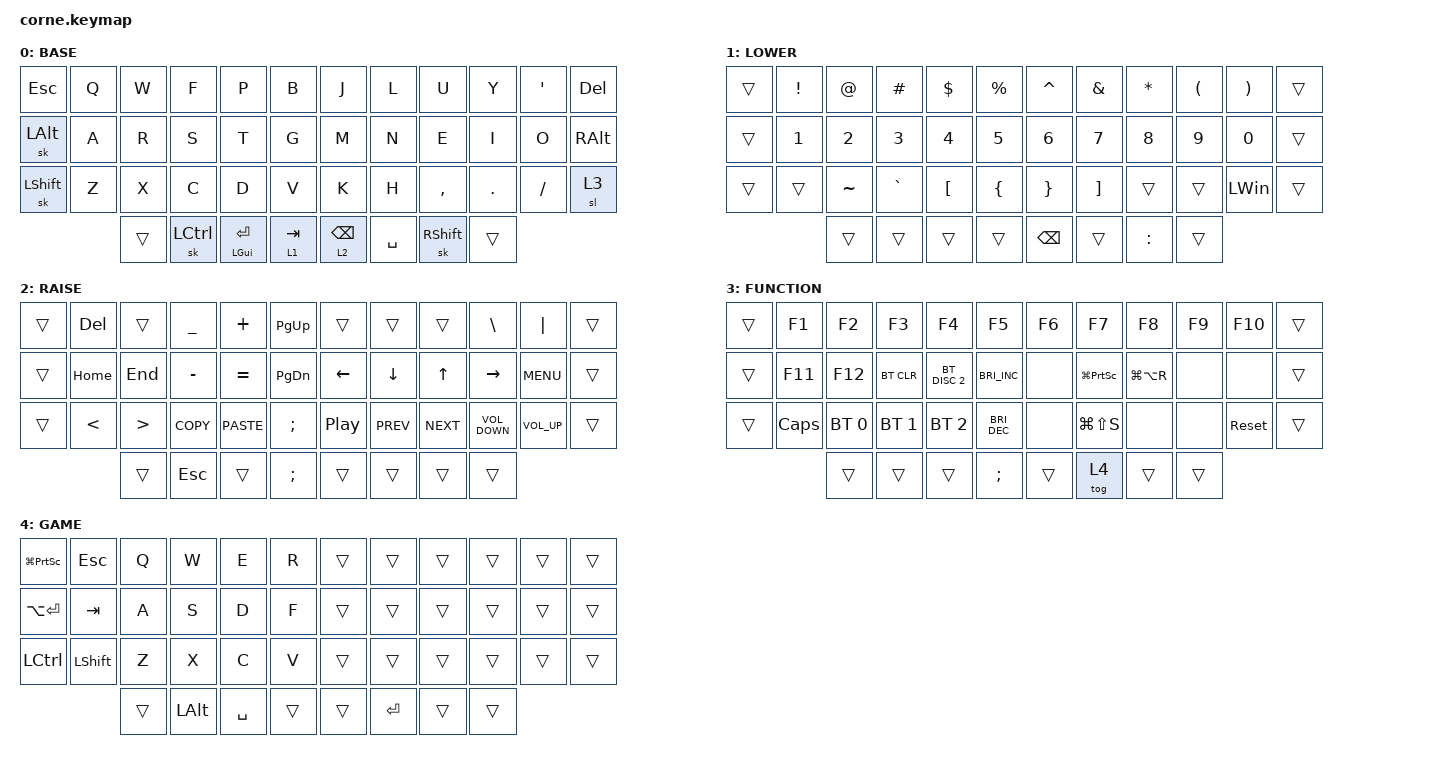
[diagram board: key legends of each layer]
/*
 * Copyright (c) 2020 The ZMK Contributors
 *
 * SPDX-License-Identifier: MIT
 */

#include <dt-bindings/zmk/reset.h>
#include <behaviors.dtsi>
#include <dt-bindings/zmk/bt.h>
#include <dt-bindings/zmk/keys.h>

&lt {
    tapping-term-ms = <500>;
    quick-tap-ms = <175>;
    require-prior-idle-ms = <150>;
    flavor = "tap-preferred";
};

/ {
    combos {
        compatible = "zmk,combos";

        double_shift {
            bindings = <&caps_word>;
            key-positions = <41 24>;
        };

        combo_m_you {
            bindings = <&m_you>;
            key-positions = <8 9>;
        };

        combo_m_eye {
            bindings = <&m_eye>;
            key-positions = <20 9>;
        };
    };

    macros {
        m_you: m_you {
            compatible = "zmk,behavior-macro";
            #binding-cells = <0>;
            bindings = <&kp Y &kp O &kp U>;
            label = "M_YOU";
        };

        m_eye: m_eye {
            compatible = "zmk,behavior-macro";
            #binding-cells = <0>;
            bindings = <&kp E &kp Y &kp E>;
            label = "M_EYE";
        };
    };

    keymap {
        compatible = "zmk,keymap";

        default_layer {
            display-name = "BASE";

            // -----------------------------------------------------------------------------------------
            // |  TAB |  Q  |  W  |  E  |  R  |  T  |   |  Y  |  U   |  I  |  O  |  P  | BKSP |
            // | CTRL |  A  |  S  |  D  |  F  |  G  |   |  H  |  J   |  K  |  L  |  ;  |  '   |
            // | SHFT |  Z  |  X  |  C  |  V  |  B  |   |  N  |  M   |  ,  |  .  |  /  | ESC  |
            //                    | GUI | LWR | SPC |   | ENT | RSE  | ALT |

            bindings = <
&kp ESCAPE  &kp Q  &kp W   &kp F      &kp P         &kp B        &kp J       &kp L      &kp U      &kp Y    &kp SINGLE_QUOTE  &kp DELETE
&sk LALT    &kp A  &kp R   &kp S      &kp T         &kp G        &kp M       &kp N      &kp E      &kp I    &kp O             &kp RIGHT_ALT
&sk LSHFT   &kp Z  &kp X   &kp C      &kp D         &kp V        &kp K       &kp H      &kp COMMA  &kp DOT  &kp FSLH          &sl 3
                   &trans  &sk LCTRL  &mt LGUI RET  &lt 1 TAB    &lt 2 BSPC  &kp SPACE  &sk RSHFT  &trans
            >;
        };

        lower_layer {
            display-name = "LOWER";

            // -----------------------------------------------------------------------------------------
            // |  TAB |  1  |  2  |  3  |  4  |  5  |   |  6  |  7  |  8  |  9  |  0  | BKSP |
            // | BTCLR| BT1 | BT2 | BT3 | BT4 | BT5 |   | LFT | DWN |  UP | RGT |     |      |
            // | SHFT |     |     |     |     |     |   |     |     |     |     |     |      |
            //                    | GUI |     | SPC |   | ENT |     | ALT |

            bindings = <
&trans  &kp EXCLAMATION  &kp AT_SIGN   &kp HASH      &kp DOLLAR        &kp PERCENT       &kp CARET        &kp AMPERSAND      &kp ASTERISK  &kp LEFT_PARENTHESIS  &kp RIGHT_PARENTHESIS  &trans
&trans  &kp NUMBER_1     &kp NUMBER_2  &kp NUMBER_3  &kp NUMBER_4      &kp NUMBER_5      &kp NUMBER_6     &kp NUMBER_7       &kp NUMBER_8  &kp NUMBER_9          &kp NUMBER_0           &trans
&trans  &trans           &kp TILDE     &kp GRAVE     &kp LEFT_BRACKET  &kp LEFT_BRACE    &kp RIGHT_BRACE  &kp RIGHT_BRACKET  &trans        &trans                &kp LEFT_WIN           &trans
                         &trans        &trans        &trans            &trans            &kp BACKSPACE    &trans             &kp COLON     &trans
            >;
        };

        raise_layer {
            display-name = "RAISE";

            // -----------------------------------------------------------------------------------------
            // |  TAB |  !  |  @  |  #  |  $  |  %  |   |  ^  |  &  |  *  |  (  |  )  | BKSP |
            // | CTRL |     |     |     |     |     |   |  -  |  =  |  [  |  ]  |  \  |  `   |
            // | SHFT |     |     |     |     |     |   |  _  |  +  |  {  |  }  | "|" |  ~   |
            //                    | GUI |     | SPC |   | ENT |     | ALT |

            bindings = <
&trans  &kp DELETE  &trans   &kp UNDER   &kp PLUS     &kp PAGE_UP      &trans            &trans      &trans      &kp BSLH           &kp PIPE         &trans
&trans  &kp HOME    &kp END  &kp MINUS   &kp EQUAL    &kp PAGE_DOWN    &kp LEFT          &kp DOWN    &kp UP      &kp RIGHT          &kp K_MENU       &trans
&trans  &kp LT      &kp GT   &kp K_COPY  &kp K_PASTE  &kp SEMI         &kp C_PLAY_PAUSE  &kp C_PREV  &kp C_NEXT  &kp C_VOLUME_DOWN  &kp C_VOLUME_UP  &trans
                    &trans   &kp ESCAPE  &trans       &kp SEMICOLON    &trans            &trans      &trans      &trans
            >;
        };

        function_layer {
            display-name = "FUNCTION";
            bindings = <
&trans  &kp F1    &kp F2        &kp F3        &kp F4         &kp F5                  &kp F6  &kp F7               &kp F8         &kp F9  &kp F10     &trans
&trans  &kp F11   &kp F12       &bt BT_CLR    &bt BT_DISC 2  &kp C_BRIGHTNESS_INC    &none   &kp LG(PRINTSCREEN)  &kp LG(LA(R))  &none   &none       &trans
&trans  &kp CAPS  &bt BT_SEL 0  &bt BT_SEL 1  &bt BT_SEL 2   &kp C_BRIGHTNESS_DEC    &none   &kp LG(LS(S))        &none          &none   &sys_reset  &trans
                  &trans        &trans        &trans         &kp SEMICOLON           &trans  &tog 4               &trans         &trans
            >;
        };

        game_layer {
            display-name = "GAME";
            bindings = <
&kp LG(PRINTSCREEN)  &kp ESCAPE      &kp Q   &kp W     &kp E      &kp R   &trans  &trans   &trans  &trans  &trans &trans
&kp LA(ENTER)        &kp TAB         &kp A   &kp S     &kp D      &kp F   &trans  &trans   &trans  &trans  &trans &trans
&kp LEFT_CONTROL     &kp LEFT_SHIFT  &kp Z   &kp X     &kp C      &kp V   &trans  &trans   &trans  &trans  &trans &trans
                                     &trans  &kp LALT  &kp SPACE  &trans  &trans  &kp RET  &trans  &trans
            >;
        };
    };
};
